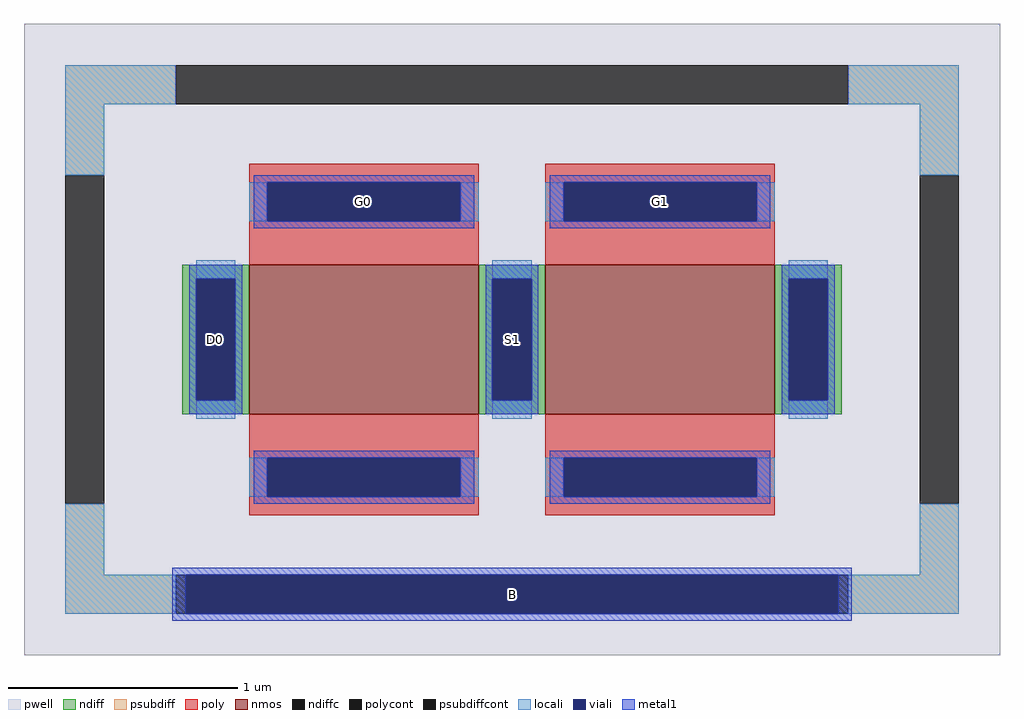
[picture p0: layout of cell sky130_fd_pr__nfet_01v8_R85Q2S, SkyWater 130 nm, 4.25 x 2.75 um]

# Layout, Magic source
magic
tech sky130A
magscale 1 2
<< pwell >>
rect -425 -275 425 275
<< nmos >>
rect -229 -65 -29 65
rect 29 -65 229 65
<< ndiff >>
rect -287 53 -229 65
rect -287 -53 -275 53
rect -241 -53 -229 53
rect -287 -65 -229 -53
rect -29 53 29 65
rect -29 -53 -17 53
rect 17 -53 29 53
rect -29 -65 29 -53
rect 229 53 287 65
rect 229 -53 241 53
rect 275 -53 287 53
rect 229 -65 287 -53
<< ndiffc >>
rect -275 -53 -241 53
rect -17 -53 17 53
rect 241 -53 275 53
<< psubdiff >>
rect -389 205 -293 239
rect 293 205 389 239
rect -389 143 -355 205
rect 355 143 389 205
rect -389 -205 -355 -143
rect 355 -205 389 -143
rect -389 -239 -293 -205
rect 293 -239 389 -205
<< psubdiffcont >>
rect -293 205 293 239
rect -389 -143 -355 143
rect 355 -143 389 143
rect -293 -239 293 -205
<< poly >>
rect -229 137 -29 153
rect -229 103 -213 137
rect -45 103 -29 137
rect -229 65 -29 103
rect 29 137 229 153
rect 29 103 45 137
rect 213 103 229 137
rect 29 65 229 103
rect -229 -103 -29 -65
rect -229 -137 -213 -103
rect -45 -137 -29 -103
rect -229 -153 -29 -137
rect 29 -103 229 -65
rect 29 -137 45 -103
rect 213 -137 229 -103
rect 29 -153 229 -137
<< polycont >>
rect -213 103 -45 137
rect 45 103 213 137
rect -213 -137 -45 -103
rect 45 -137 213 -103
<< locali >>
rect -389 205 -293 239
rect 293 205 389 239
rect -389 143 -355 205
rect 355 143 389 205
rect -229 103 -213 137
rect -45 103 -29 137
rect 29 103 45 137
rect 213 103 229 137
rect -275 53 -241 69
rect -275 -69 -241 -53
rect -17 53 17 69
rect -17 -69 17 -53
rect 241 53 275 69
rect 241 -69 275 -53
rect -229 -137 -213 -103
rect -45 -137 -29 -103
rect 29 -137 45 -103
rect 213 -137 229 -103
rect -389 -205 -355 -143
rect 355 -205 389 -143
rect -389 -239 -293 -205
rect 293 -239 389 -205
<< viali >>
rect -213 103 -45 137
rect 45 103 213 137
rect -275 -53 -241 53
rect -17 -53 17 53
rect 241 -53 275 53
rect -213 -137 -45 -103
rect 45 -137 213 -103
rect -284 -239 284 -205
<< metal1 >>
rect -225 137 -33 143
rect -225 103 -213 137
rect -45 103 -33 137
rect -225 97 -33 103
rect 33 137 225 143
rect 33 103 45 137
rect 213 103 225 137
rect 33 97 225 103
rect -281 53 -235 65
rect -281 -53 -275 53
rect -241 -53 -235 53
rect -281 -65 -235 -53
rect -23 53 23 65
rect -23 -53 -17 53
rect 17 -53 23 53
rect -23 -65 23 -53
rect 235 53 281 65
rect 235 -53 241 53
rect 275 -53 281 53
rect 235 -65 281 -53
rect -225 -103 -33 -97
rect -225 -137 -213 -103
rect -45 -137 -33 -103
rect -225 -143 -33 -137
rect 33 -103 225 -97
rect 33 -137 45 -103
rect 213 -137 225 -103
rect 33 -143 225 -137
rect -296 -205 296 -199
rect -296 -239 -284 -205
rect 284 -239 296 -205
rect -296 -245 296 -239
<< labels >>
rlabel psubdiffcont 0 -222 0 -222 0 B
port 1 nsew
rlabel ndiffc -258 0 -258 0 0 D0
port 2 nsew
rlabel polycont -129 120 -129 120 0 G0
port 3 nsew
rlabel ndiffc 0 0 0 0 0 S1
port 4 nsew
rlabel polycont 129 120 129 120 0 G1
port 5 nsew
<< properties >>
string FIXED_BBOX -372 -222 372 222
string gencell sky130_fd_pr__nfet_01v8
string library sky130
string parameters w 0.65 l 1 m 1 nf 2 diffcov 100 polycov 100 guard 1 glc 1 grc 1 gtc 1 gbc 1 tbcov 100 rlcov 100 topc 1 botc 1 poverlap 0 doverlap 1 lmin 0.15 wmin 0.42 class mosfet compatible {sky130_fd_pr__nfet_01v8 sky130_fd_pr__nfet_01v8_lvt  sky130_fd_bs_flash__special_sonosfet_star  sky130_fd_pr__nfet_g5v0d10v5 sky130_fd_pr__nfet_05v0_nvt  sky130_fd_pr__nfet_03v3_nvt} full_metal 1 conn_gates 0 viasrc 100 viadrn 100 viagate 100 viagb 80 viagr 0 viagl 0 viagt 0 doports 1
<< end >>
